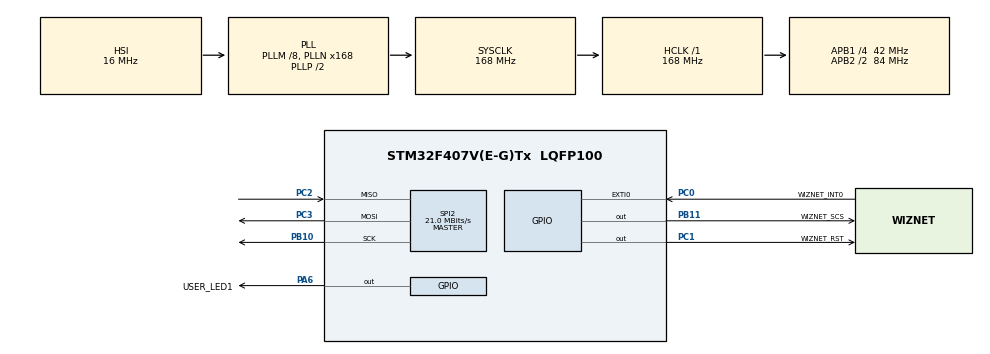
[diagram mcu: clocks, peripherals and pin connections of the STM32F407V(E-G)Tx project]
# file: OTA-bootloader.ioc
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Mcu.Family=STM32F4
Mcu.Name=STM32F407V(E-G)Tx
Mcu.Package=LQFP100
NVIC.PriorityGroup=NVIC_PRIORITYGROUP_4
PA13.Mode=Serial_Wire
PA13.Signal=SYS_JTMS-SWDIO
PA14.Mode=Serial_Wire
PA14.Signal=SYS_JTCK-SWCLK
PA6.GPIO_Label=USER_LED1
PA6.Signal=GPIO_Output
PB10.Mode=Full_Duplex_Master
PB10.Signal=SPI2_SCK
PB11.GPIO_Label=WIZNET_SCS
PB11.GPIO_PuPd=GPIO_PULLUP
PB11.Signal=GPIO_Output
PC0.GPIO_Label=WIZNET_INT0
PC0.Signal=GPXTI0
PC1.GPIO_Label=WIZNET_RST
PC1.Signal=GPIO_Output
PC2.Mode=Full_Duplex_Master
PC2.Signal=SPI2_MISO
PC3.Mode=Full_Duplex_Master
PC3.Signal=SPI2_MOSI
ProjectManager.HeapSize=0x200
ProjectManager.StackSize=0x400
ProjectManager.TargetToolchain=Makefile
RCC.48MHZClocksFreq_Value=84000000
RCC.AHBFreq_Value=168000000
RCC.APB1CLKDivider=RCC_HCLK_DIV4
RCC.APB1Freq_Value=42000000
RCC.APB1TimFreq_Value=84000000
RCC.APB2CLKDivider=RCC_HCLK_DIV2
RCC.APB2Freq_Value=84000000
RCC.APB2TimFreq_Value=168000000
RCC.CortexFreq_Value=168000000
RCC.HCLKFreq_Value=168000000
RCC.HSE_VALUE=25000000
RCC.HSI_VALUE=16000000
RCC.LSE_VALUE=32768
RCC.PLLM=8
RCC.PLLN=168
RCC.SYSCLKFreq_VALUE=168000000
RCC.SYSCLKSource=RCC_SYSCLKSOURCE_PLLCLK
RCC.VCOOutputFreq_Value=336000000
SPI2.BaudRatePrescaler=SPI_BAUDRATEPRESCALER_2
SPI2.CalculateBaudRate=21.0 MBits/s
SPI2.Direction=SPI_DIRECTION_2LINES
SPI2.Mode=SPI_MODE_MASTER
SPI2.VirtualType=VM_MASTER
board=custom

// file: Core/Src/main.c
/* USER CODE BEGIN Header */
/**
  ******************************************************************************
  * @file           : main.c
  * @brief          : Main program body
  ******************************************************************************
  * @attention
  *
  * Copyright (c) 2026 STMicroelectronics.
  * All rights reserved.
  *
  * This software is licensed under terms that can be found in the LICENSE file
  * in the root directory of this software component.
  * If no LICENSE file comes with this software, it is provided AS-IS.
  *
  ******************************************************************************
  */
/* USER CODE END Header */
#include "main.h"

/* USER CODE BEGIN Includes */

#include "stm32f4xx_hal.h"
#include "stm32f4xx_hal_def.h"
#include "stm32f4xx_hal_gpio.h"
#include "stm32f4xx_hal_spi.h"
#include "wizchip_conf.h"
#include <stdint.h>

/* USER CODE END Includes */

SPI_HandleTypeDef hspi2;

void SystemClock_Config(void);
static void MX_GPIO_Init(void);
static void MX_SPI2_Init(void);
/* USER CODE BEGIN PFP */
static void CS_Select(void);
static void CS_Deselect(void);
static uint8_t SPI_Read_Byte(void);
static void SPI_Write_Byte(uint8_t);

/* USER CODE END PFP */

int main(void)
{

  /* MCU Configuration--------------------------------------------------------*/

  /* Reset of all peripherals, Initializes the Flash interface and the Systick. */
  HAL_Init();

  /* Configure the system clock */
  SystemClock_Config();

  /* Initialize all configured peripherals */
  MX_GPIO_Init();
  MX_SPI2_Init();
  /* USER CODE BEGIN 2 */

  wiz_NetInfo gWIZNETINFO = {
      .mac  = { 0x00, 0x08, 0xDC, 0x12, 0x34, 0x56 }, // MAC address
      .ip   = { 192, 168, 1, 222 },                   // Static IP address
      .sn   = { 255, 255, 255, 0 },                   // Subnet Mask
      .gw   = { 192, 168, 1, 1 },                     // Gateway Address
      .dns  = { 8, 8, 8, 8 },                         // DNS server
      .dhcp = NETINFO_STATIC                         // Static mode
  };

  HAL_GPIO_WritePin(WIZNET_RST_GPIO_Port, WIZNET_RST_Pin, GPIO_PIN_RESET);
  HAL_Delay(50);
  HAL_GPIO_WritePin(WIZNET_RST_GPIO_Port, WIZNET_RST_Pin, GPIO_PIN_SET);
  HAL_Delay(50);

  CS_Deselect();

  reg_wizchip_cs_cbfunc(CS_Select, CS_Deselect);
  reg_wizchip_spi_cbfunc(SPI_Read_Byte, SPI_Write_Byte);
  // reg_wizchip_spiburst_cbfunc(SPI_Read_Byte, SPI_Write_Byte);

  // uint8_t memsize[2][8] = {{2,2,2,2,2,2,2,2}, {2,2,2,2,2,2,2,2}};
  // ctlwizchip(CW_INIT_WIZCHIP, (void*)memsize);

  ctlnetwork(CN_SET_NETINFO, (void*)&gWIZNETINFO);

  /* USER CODE END 2 */

  /* Infinite loop */
  while (1)
  {

    /* USER CODE BEGIN 3 */
    HAL_GPIO_WritePin(USER_LED1_GPIO_Port, USER_LED1_Pin, GPIO_PIN_RESET);
    HAL_Delay(1000);
    HAL_GPIO_WritePin(USER_LED1_GPIO_Port, USER_LED1_Pin, GPIO_PIN_SET);
    HAL_Delay(1000);
  }
  /* USER CODE END 3 */
}

void SystemClock_Config(void)
{
  RCC_OscInitTypeDef RCC_OscInitStruct = {0};
  RCC_ClkInitTypeDef RCC_ClkInitStruct = {0};

  /** Configure the main internal regulator output voltage
  */
  __HAL_RCC_PWR_CLK_ENABLE();
  __HAL_PWR_VOLTAGESCALING_CONFIG(PWR_REGULATOR_VOLTAGE_SCALE1);

  /** Initializes the RCC Oscillators according to the specified parameters
  * in the RCC_OscInitTypeDef structure.
  */
  RCC_OscInitStruct.OscillatorType = RCC_OSCILLATORTYPE_HSI;
  RCC_OscInitStruct.HSIState = RCC_HSI_ON;
  RCC_OscInitStruct.HSICalibrationValue = RCC_HSICALIBRATION_DEFAULT;
  RCC_OscInitStruct.PLL.PLLState = RCC_PLL_ON;
  RCC_OscInitStruct.PLL.PLLSource = RCC_PLLSOURCE_HSI;
  RCC_OscInitStruct.PLL.PLLM = 8;
  RCC_OscInitStruct.PLL.PLLN = 168;
  RCC_OscInitStruct.PLL.PLLP = RCC_PLLP_DIV2;
  RCC_OscInitStruct.PLL.PLLQ = 4;
  if (HAL_RCC_OscConfig(&RCC_OscInitStruct) != HAL_OK)
  {
    Error_Handler();
  }

  /** Initializes the CPU, AHB and APB buses clocks
  */
  RCC_ClkInitStruct.ClockType = RCC_CLOCKTYPE_HCLK|RCC_CLOCKTYPE_SYSCLK
                              |RCC_CLOCKTYPE_PCLK1|RCC_CLOCKTYPE_PCLK2;
  RCC_ClkInitStruct.SYSCLKSource = RCC_SYSCLKSOURCE_PLLCLK;
  RCC_ClkInitStruct.AHBCLKDivider = RCC_SYSCLK_DIV1;
  RCC_ClkInitStruct.APB1CLKDivider = RCC_HCLK_DIV4;
  RCC_ClkInitStruct.APB2CLKDivider = RCC_HCLK_DIV2;

  if (HAL_RCC_ClockConfig(&RCC_ClkInitStruct, FLASH_LATENCY_5) != HAL_OK)
  {
    Error_Handler();
  }
}

static void MX_SPI2_Init(void)
{

  /* SPI2 parameter configuration*/
  hspi2.Instance = SPI2;
  hspi2.Init.Mode = SPI_MODE_MASTER;
  hspi2.Init.Direction = SPI_DIRECTION_2LINES;
  hspi2.Init.DataSize = SPI_DATASIZE_8BIT;
  hspi2.Init.CLKPolarity = SPI_POLARITY_LOW;
  hspi2.Init.CLKPhase = SPI_PHASE_1EDGE;
  hspi2.Init.NSS = SPI_NSS_SOFT;
  hspi2.Init.BaudRatePrescaler = SPI_BAUDRATEPRESCALER_2;
  hspi2.Init.FirstBit = SPI_FIRSTBIT_MSB;
  hspi2.Init.TIMode = SPI_TIMODE_DISABLE;
  hspi2.Init.CRCCalculation = SPI_CRCCALCULATION_DISABLE;
  hspi2.Init.CRCPolynomial = 10;
  if (HAL_SPI_Init(&hspi2) != HAL_OK)
  {
    Error_Handler();
  }

}

static void MX_GPIO_Init(void)
{
  GPIO_InitTypeDef GPIO_InitStruct = {0};

  /* GPIO Ports Clock Enable */
  __HAL_RCC_GPIOC_CLK_ENABLE();
  __HAL_RCC_GPIOA_CLK_ENABLE();
  __HAL_RCC_GPIOB_CLK_ENABLE();

  /*Configure GPIO pin Output Level */
  HAL_GPIO_WritePin(WIZNET_RST_GPIO_Port, WIZNET_RST_Pin, GPIO_PIN_RESET);

  /*Configure GPIO pin Output Level */
  HAL_GPIO_WritePin(USER_LED1_GPIO_Port, USER_LED1_Pin, GPIO_PIN_RESET);

  /*Configure GPIO pin Output Level */
  HAL_GPIO_WritePin(WIZNET_SCS_GPIO_Port, WIZNET_SCS_Pin, GPIO_PIN_RESET);

  /*Configure GPIO pin : WIZNET_INT0_Pin */
  GPIO_InitStruct.Pin = WIZNET_INT0_Pin;
  GPIO_InitStruct.Mode = GPIO_MODE_IT_RISING;
  GPIO_InitStruct.Pull = GPIO_NOPULL;
  HAL_GPIO_Init(WIZNET_INT0_GPIO_Port, &GPIO_InitStruct);

  /*Configure GPIO pin : WIZNET_RST_Pin */
  GPIO_InitStruct.Pin = WIZNET_RST_Pin;
  GPIO_InitStruct.Mode = GPIO_MODE_OUTPUT_PP;
  GPIO_InitStruct.Pull = GPIO_NOPULL;
  GPIO_InitStruct.Speed = GPIO_SPEED_FREQ_LOW;
  HAL_GPIO_Init(WIZNET_RST_GPIO_Port, &GPIO_InitStruct);

  /*Configure GPIO pin : USER_LED1_Pin */
  GPIO_InitStruct.Pin = USER_LED1_Pin;
  GPIO_InitStruct.Mode = GPIO_MODE_OUTPUT_PP;
  GPIO_InitStruct.Pull = GPIO_NOPULL;
  GPIO_InitStruct.Speed = GPIO_SPEED_FREQ_LOW;
  HAL_GPIO_Init(USER_LED1_GPIO_Port, &GPIO_InitStruct);

  /*Configure GPIO pin : WIZNET_SCS_Pin */
  GPIO_InitStruct.Pin = WIZNET_SCS_Pin;
  GPIO_InitStruct.Mode = GPIO_MODE_OUTPUT_PP;
  GPIO_InitStruct.Pull = GPIO_PULLUP;
  GPIO_InitStruct.Speed = GPIO_SPEED_FREQ_LOW;
  HAL_GPIO_Init(WIZNET_SCS_GPIO_Port, &GPIO_InitStruct);

}

/* USER CODE BEGIN 4 */
static void CS_Select(void)
{
    HAL_GPIO_WritePin(WIZNET_SCS_GPIO_Port, WIZNET_SCS_Pin, GPIO_PIN_RESET);
}

static void CS_Deselect(void)
{
    HAL_GPIO_WritePin(WIZNET_SCS_GPIO_Port, WIZNET_SCS_Pin, GPIO_PIN_SET);
}

static uint8_t SPI_Read_Byte(void)
{
    const uint8_t write_byte = 0xFF; // Dummy byte
    uint8_t read_byte = 0;

    HAL_SPI_TransmitReceive(&hspi2, &write_byte, &read_byte, 1, 100);

    return read_byte;
}

static void SPI_Write_Byte(uint8_t byte)
{
    HAL_SPI_Transmit(&hspi2, &byte, 1, 100);
}
/* USER CODE END 4 */

void Error_Handler(void)
{
  __disable_irq();
  while (1)
  {
  }
}
